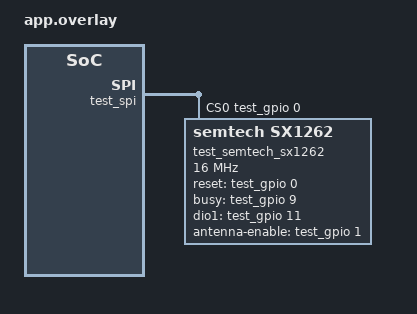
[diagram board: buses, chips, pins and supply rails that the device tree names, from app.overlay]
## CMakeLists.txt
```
# SPDX-FileCopyrightText: 2026 FoBE Studio
# SPDX-License-Identifier: Apache-2.0
cmake_minimum_required(VERSION 3.20.0)
find_package(Zephyr REQUIRED HINTS $ENV{ZEPHYR_BASE})
project(mbs_radio_health_test)
target_sources(app PRIVATE src/main.c)
```

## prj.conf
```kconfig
# SPDX-FileCopyrightText: 2026 FoBE Studio
# SPDX-License-Identifier: Apache-2.0
CONFIG_ZTEST=y
CONFIG_ASSERT=y
CONFIG_MBS=y
CONFIG_MBS_RADIO=y
CONFIG_MBS_RADIO_SHELL=n
CONFIG_MBS_RADIO_STATS=n
CONFIG_MBS_RADIO_DEFAULT_ENABLED=y
CONFIG_MBS_RADIO_DEFAULT_DUTY_CYCLE=n
CONFIG_LORA=y
CONFIG_SETTINGS=y
CONFIG_SETTINGS_NONE=y
CONFIG_MAIN_STACK_SIZE=4096
CONFIG_SYSTEM_WORKQUEUE_STACK_SIZE=4096
CONFIG_ZTEST_STACK_SIZE=4096

CONFIG_LORA_MODULE_BACKEND_LORAMAC_NODE=n
CONFIG_LORA_MODULE_BACKEND_LORA_BASICS_MODEM=y
```

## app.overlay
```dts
/*
 * SPDX-FileCopyrightText: FoBE Studio
 * SPDX-License-Identifier: Apache-2.0
 */

/ {
	test_radio: radio { compatible = "vnd,health-radio"; status = "okay"; };
	chosen {
		meshbus,radio = &test_radio;
	};

	test {
		#address-cells = <1>;
		#size-cells = <1>;

		test_gpio: gpio@deadbeef {
			compatible = "vnd,gpio";
			gpio-controller;
			reg = <0xdeadbeef 0x1000>;
			#gpio-cells = <0x2>;
			status = "okay";
		};

		test_spi: spi@33334444 {
			#address-cells = <1>;
			#size-cells = <0>;
			compatible = "vnd,spi";
			reg = <0x33334444 0x1000>;
			status = "okay";

			cs-gpios = <&test_gpio 0 0>;

			test_semtech_sx1262: sx1262@0 {
				compatible = "semtech,sx1262";
				status = "okay";
				reg = <0>;
				spi-max-frequency = <16000000>;
				reset-gpios = <&test_gpio 0 0>;
				busy-gpios = <&test_gpio 9 0>;
				dio1-gpios = <&test_gpio 11 0>;
				antenna-enable-gpios = <&test_gpio 1 0>;
				dio2-tx-enable;
				tcxo-power-startup-delay-ms = <5>;
			};
		};
	};
};
```

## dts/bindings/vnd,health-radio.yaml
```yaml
# SPDX-FileCopyrightText: 2026 FoBE Studio
# SPDX-License-Identifier: Apache-2.0
description: Test-owned LoRa driver for service health contracts
compatible: "vnd,health-radio"
include: base.yaml
```

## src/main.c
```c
/* SPDX-FileCopyrightText: 2026 FoBE Studio */
/* SPDX-License-Identifier: Apache-2.0 */
#include <zephyr/ztest.h>
#include <zephyr/drivers/lora.h>
#include <radio/radio.h>

static int send_error;
static int receive_error;
static lora_recv_cb receive_cb;
static void *receive_data;
static int fake_config(const struct device *dev, const struct lora_modem_config *cfg)
{
	ARG_UNUSED(dev); ARG_UNUSED(cfg); return 0;
}
static uint32_t fake_airtime(const struct device *dev, uint32_t len)
{
	ARG_UNUSED(dev); ARG_UNUSED(len); return 1;
}
static int fake_send(const struct device *dev, uint8_t *data, uint32_t len,
		     struct k_poll_signal *signal)
{
	ARG_UNUSED(dev); ARG_UNUSED(data); ARG_UNUSED(len);
	if (!send_error) {
		k_poll_signal_raise(signal, 0);
	}
	return send_error;
}
static int fake_receive(const struct device *dev, lora_recv_cb cb, void *data)
{
	ARG_UNUSED(dev);
	if (cb) {
		receive_cb = cb;
		receive_data = data;
		return receive_error;
	}
	return 0;
}
static DEVICE_API(lora, fake_api) = {
	.config = fake_config, .airtime = fake_airtime,
	.send_async = fake_send, .recv_async = fake_receive,
};
DEVICE_DT_DEFINE(DT_NODELABEL(test_radio), NULL, NULL, NULL, NULL,
	POST_KERNEL, CONFIG_KERNEL_INIT_PRIORITY_DEVICE, &fake_api);
K_SEM_DEFINE(done, 0, 1);
static void tx_done(const struct zbus_channel *chan)
{
	ARG_UNUSED(chan); k_sem_give(&done);
}
ZBUS_LISTENER_DEFINE(test_done, tx_done);
ZBUS_CHAN_ADD_OBS(mbs_radio_tx_done_chan, test_done, 1);
static void transmit(int status)
{
	send_error = status;
	struct mbs_radio_publish_event event = {.data = {1}, .len = 1};
	k_sem_reset(&done);
	zassert_ok(zbus_chan_pub(&mbs_radio_publish_chan, &event, K_MSEC(50)));
	zassert_ok(k_sem_take(&done, K_MSEC(500)), "no TX completion");
}
static struct mbs_radio_health_event health(void)
{
	struct mbs_radio_health_event event;
	zassert_ok(mbs_radio_health_get(&event));
	return event;
}
static void before(void *fixture)
{
	ARG_UNUSED(fixture);
	send_error = 0;
	receive_error = 0;
	zassert_ok(mbs_radio_config_reset());
}
ZTEST(radio_health, test_driver_failure_threshold_and_policy_rejections)
{
	zassert_true(health().ready);
	transmit(-EBUSY);
	transmit(-ECANCELED);
	transmit(-EINVAL);
	zassert_false(health().tx_failed);
	transmit(-EIO);
	transmit(-EIO);
	zassert_false(health().tx_failed);
	transmit(-EIO);
	zassert_true(health().tx_failed);
	transmit(0);
	zassert_false(health().tx_failed);
}
ZTEST(radio_health, test_tx_success_does_not_hide_failed_receiver)
{
	receive_error = -EIO;
	transmit(0);
	zassert_true(health().rx_failed);
	zassert_false(health().tx_failed);
	receive_error = -EBUSY;
	transmit(0);
	zassert_true(health().rx_failed);
	uint8_t packet[] = {1};
	receive_cb(DEVICE_DT_GET(DT_NODELABEL(test_radio)), packet, 1, -80, 4, receive_data);
	zassert_false(health().rx_failed);
}
ZTEST_SUITE(radio_health, NULL, NULL, before, NULL, NULL);
```
